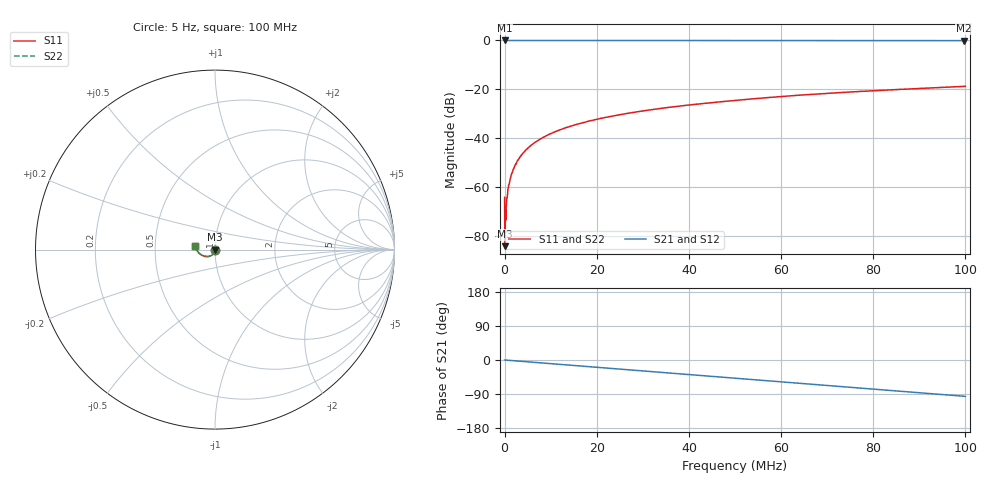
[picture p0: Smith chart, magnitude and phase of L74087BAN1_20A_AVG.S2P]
!Agilent Technologies,E5061B,MY49102235,A.02.00
!Date: Mon Jul 10 15:56:26 2023
!Data & Calibration Information:
!Freq	S11:SOLT2(ON)	S21:SOLT2(ON)	S12:SOLT2(ON)	S22:SOLT2(ON)
# Hz S RI R 50
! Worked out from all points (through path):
!   1600 points, 5 Hz to 100 MHz, reference 50 ohm
!   highest |S21| = 0.02 dB at 5 Hz (marker M1); lowest = -0.1 dB at 99.62 MHz (marker M2)
!   group delay of S21, straight-line fit = 2.67 ns
!   lowest |S11| = -84.4 dB at 62.54 kHz (marker M3), VSWR 1.00, Z = 50 - j0.00171 ohm
!   |S11| at or under -10 dB: start of sweep to end of sweep
!   |S22| runs from -82.3 to -18.8 dB; largest |S21 - S12| = 0.0027
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5  -0.000412 0.000446  1.002 0.00235  1.001 -2.18e-05  -3.17e-05 -6.98e-05
62544.08  -5.81e-05 -1.71e-05  1 -0.000846  1 -0.000574  2.96e-05 -0.000116
250161.3  5e-05 -0.000202  0.9998 -0.00445  0.9998 -0.00415  4.27e-05 -0.000238
562856.8  0.000139 -0.000587  0.9997 -0.0096  0.9996 -0.00917  7.97e-05 -0.000636
687934.9  1.58e-05 -0.00082  1 -0.0114  1 -0.0116  3.07e-06 -0.000728
813013.1  -0.000104 -0.000948  1 -0.0138  0.9992 -0.0132  -9.63e-05 -0.000983
1063169  -8.83e-05 -0.00121  1 -0.0177  1 -0.0179  -5.5e-05 -0.00129
1250787  -0.000113 -0.00148  0.9998 -0.0213  0.999 -0.0206  -5.72e-05 -0.00147
1688560  -4.9e-05 -0.00202  1 -0.0286  0.9995 -0.028  -6.55e-05 -0.00203
2188873  -0.000118 -0.00262  0.9993 -0.0366  0.9993 -0.0368  -0.00012 -0.00262
3627272  -0.000234 -0.00443  0.9981 -0.061  0.9981 -0.0606  -0.00027 -0.00443
5753601  -0.000595 -0.00708  0.9952 -0.0965  0.9952 -0.0962  -0.000656 -0.00699
8692938  -0.00145 -0.0106  0.9891 -0.1454  0.9892 -0.1449  -0.00159 -0.0104
1.250782e7  -0.00306 -0.015  0.9777 -0.2082  0.9778 -0.2081  -0.00307 -0.0148
1.669794e7  -0.00552 -0.0195  0.9607 -0.2762  0.9607 -0.2762  -0.00543 -0.0194
2.395247e7  -0.0113 -0.0265  0.9198 -0.391  0.9197 -0.3905  -0.0112 -0.0266
3.333334e7  -0.0215 -0.0335  0.847 -0.5299  0.847 -0.5296  -0.0214 -0.0339
5.003127e7  -0.0448 -0.0384  0.667 -0.7425  0.667 -0.7426  -0.0453 -0.0388
6.672921e7  -0.0721 -0.0317  0.4356 -0.8965  0.4354 -0.8961  -0.0724 -0.0321
8.33646e7  -0.0959 -0.0118  0.1714 -0.9799  0.1712 -0.9797  -0.0964 -0.0124
9.962477e7  -0.1128 0.0193  -0.0973 -0.9882  -0.0975 -0.9879  -0.1135 0.0182
1e8  -0.1131 0.0201  -0.1035 -0.9876  -0.1037 -0.9872  -0.1139 0.0189
